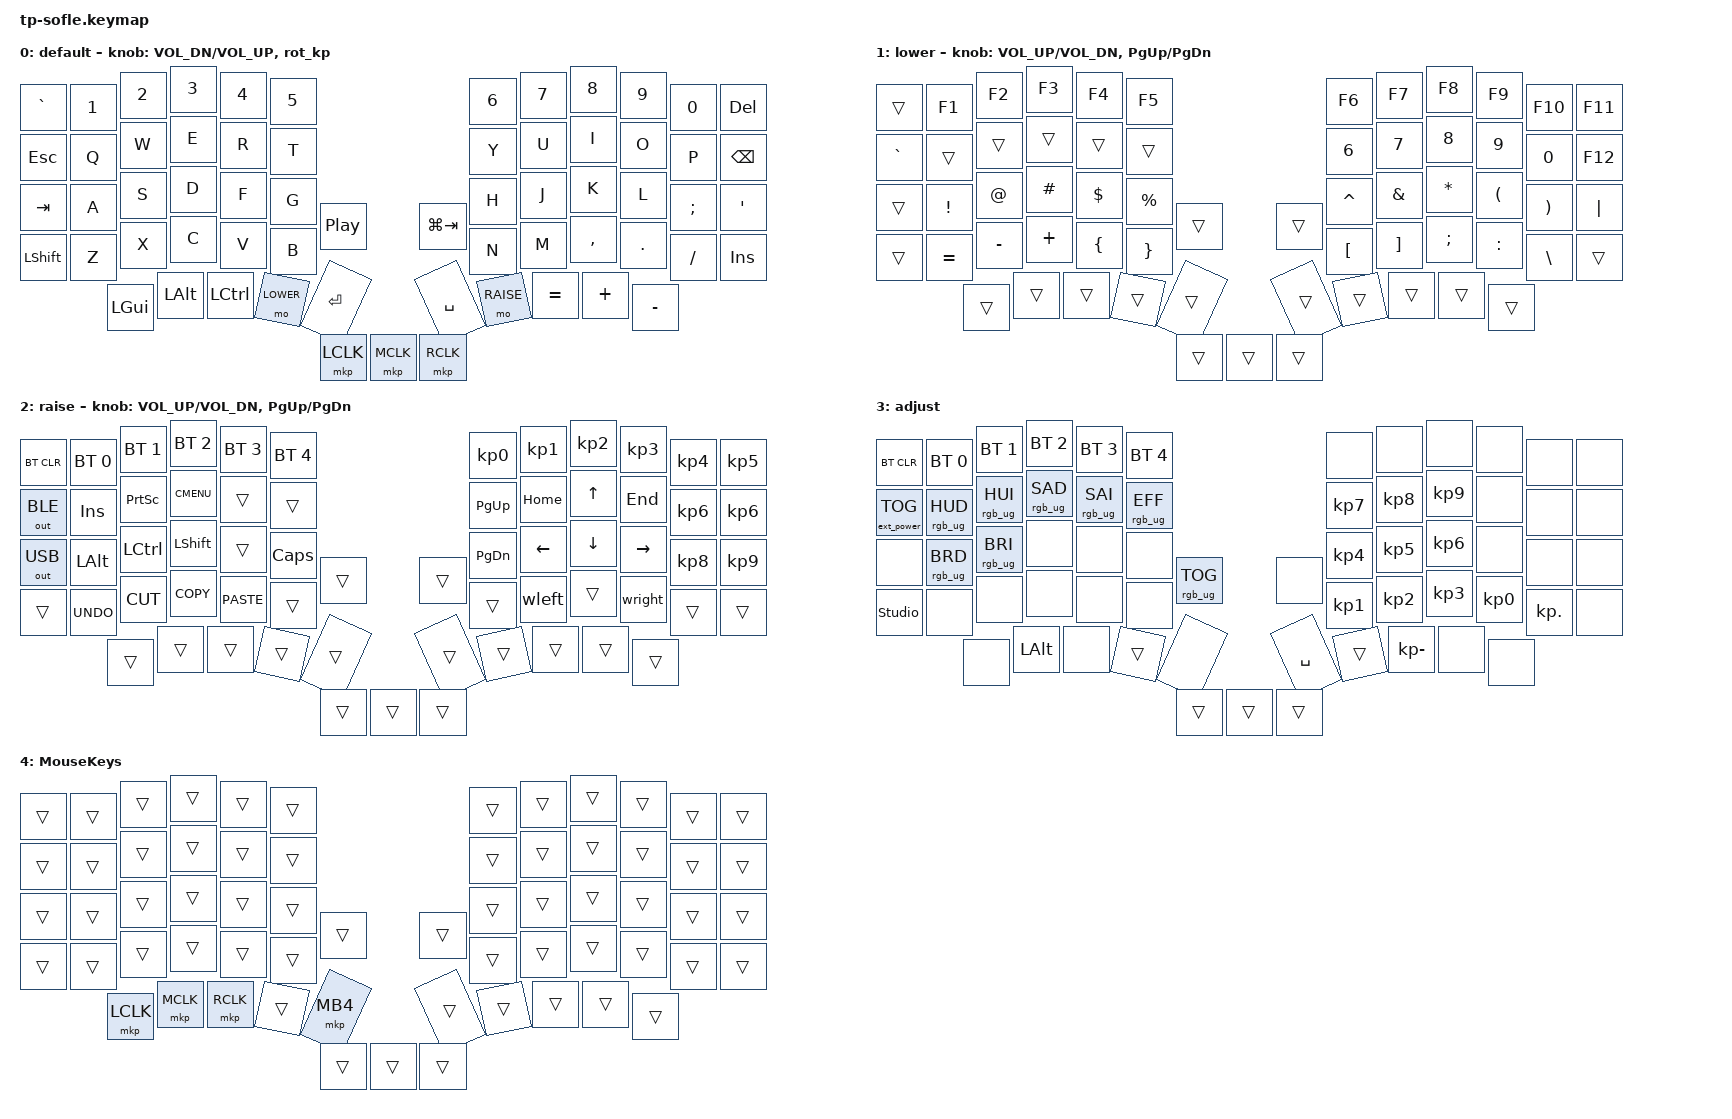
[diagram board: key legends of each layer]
/*
 * Copyright (c) 2020 The ZMK Contributors
 *
 * SPDX-License-Identifier: MIT
 */

#include <behaviors.dtsi>
#include <dt-bindings/zmk/keys.h>
#include <dt-bindings/zmk/bt.h>
#include <dt-bindings/zmk/rgb.h>
#include <dt-bindings/zmk/ext_power.h>
#include <dt-bindings/zmk/outputs.h>

#define BASE 0
#define LOWER 1
#define RAISE 2
#define ADJUST 3


#define MOUSE_KEYS 4

// The LED strip hardware lives in the shield: the halves' strip in
// boards/shields/tp-sofle/boards/nice_nano_v2.overlay, the central's in
// tp-sofle_central.overlay (the central is a XIAO, different pins).

/*
 * Defines to enable/disable features
 *
 * These defines allow us to conditionally enable and disable parts of the keymap config.
 *
 * For example, if we decide to build the firmware without the mouse features, we can
 * disable all the config options that rely on those forks and modules without having
 * to edit the entire keymap file manually every time.
 */

#define HAS_MOUSE_KEYS

#ifdef HAS_MOUSE_KEYS
  #include <dt-bindings/zmk/mouse.h>
  #include <behaviors/mouse_keys.dtsi>
#endif  // HAS_MOUSE_KEYS



/ {
 macros {
        wleft: wleft {
            compatible = "zmk,behavior-macro";
            #binding-cells = <0>;
            bindings
                = <&macro_press &kp LGUI>, <&macro_press &kp LCTRL>
                , <&macro_tap &kp LEFT>
                , <&macro_release &kp LGUI>,<&macro_release &kp LCTRL>
                ;
        };
        wright: wright {
            compatible = "zmk,behavior-macro";
            #binding-cells = <0>;
            bindings
                = <&macro_press &kp LGUI>, <&macro_press &kp LCTRL>
                , <&macro_tap &kp RIGHT>
                , <&macro_release &kp LGUI>,<&macro_release &kp LCTRL>
                ;
        };
    };

    behaviors {
        rot_kp: sensor_rotate_kp {
            compatible = "zmk,behavior-sensor-rotate";
            #sensor-binding-cells = <0>;
            bindings = <&wleft>, <&wright>;
        };
    };

   // Activate ADJUST layer by pressing raise and lower
    conditional_layers {
        compatible = "zmk,conditional-layers";
        adjust_layer {
            if-layers = <LOWER RAISE>;
            then-layer = <ADJUST>;
        };
    };

    keymap {
        compatible = "zmk,keymap";

        default_layer {
            display-name = "default";
// ------------------------------------------------------------------------------------------------------------
// |   `   |  1  |  2  |  3   |  4   |  5   |                   |  6   |  7    |  8    |  9   |   0   |  DEL  |
// |  ESC  |  Q  |  W  |  E   |  R   |  T   |                   |  Y   |  U    |  I    |  O   |   P   | BKSPC |
// |  TAB  |  A|afi  |  S  |  D   |  F   |  G   |                   |  H   |  J    |  K    |  L   |   ;   INS   '   |
// | SHIFT |  Z  |  X  |  C   |  V   |  B   |  PAUSE  |  |       |  N   |  M    |  ,    |  .   |   /   | SHIFT |
//               | GUI | ALT  | CTRL | LOWER|  ENTER |  | SPACE | RAISE| =  | +   | -  |
            bindings = <
&kp GRAVE &kp N1 &kp N2   &kp N3   &kp N4    &kp N5                           &kp N6 &kp N7    &kp N8    &kp N9   &kp N0   &kp DELETE
&kp ESC   &kp Q  &kp W    &kp E    &kp R     &kp T                            &kp Y  &kp U     &kp I     &kp O    &kp P    &kp BSPC
&kp TAB   &kp A  &kp S    &kp D    &kp F     &kp G                            &kp H  &kp J     &kp K     &kp L    &kp SEMI &kp SQT
&kp LSHFT &kp Z  &kp X    &kp C    &kp V     &kp B      &kp C_PLAY_PAUSE  &kp LG(TAB)      &kp N  &kp M     &kp COMMA &kp DOT  &kp FSLH &kp INS
                 &kp LGUI &kp LALT &kp LCTRL &mo LOWER  &kp RET    &kp SPACE  &mo RAISE &kp EQUAL &kp PLUS  &kp MINUS
                                    &mkp LCLK  &mkp MCLK  &mkp RCLK
            >;

            sensor-bindings = <&inc_dec_kp C_VOL_DN C_VOL_UP &rot_kp>;
        };

        lower_layer {
            display-name = "lower";
// TODO: Some binds are waiting for shifted keycode support.
// ------------------------------------------------------------------------------------------------------------
// |       |  F1 |  F2 |  F3  |  F4  |  F5  |                   |  F6  |  F7   |  F8   |  F9  |  F10  |  F11  |
// |   `   |  1  |  2  |  3   |  4   |  5   |                   |  6   |  7    |  8    |  9   |   0   |  F12  |
// |       |  !  |  @  |  #   |  $   |  %   |                   |  ^   |  &    |  *    |  (   |   )   |   |   |
// |       |  =  |  -  |  +   |  {   |  }   |        |  |       |  [   |  ]    |  ;    |  :   |   \   |       |
//               |     |      |      |      |        |  |       |      |       |       |      |
            bindings = <
&trans    &kp F1    &kp F2    &kp F3      &kp F4    &kp F5                    &kp F6    &kp F7   &kp F8    &kp F9    &kp F10   &kp F11
&kp GRAVE &trans    &trans    &trans      &trans    &trans                    &kp N6    &kp N7   &kp N8    &kp N9    &kp N0    &kp F12
&trans    &kp EXCL  &kp AT    &kp HASH    &kp DLLR  &kp PRCNT                 &kp CARET &kp AMPS &kp ASTRK &kp LPAR  &kp RPAR  &kp PIPE
&trans    &kp EQUAL &kp MINUS &kp PLUS &kp LBRC  &kp RBRC   &trans &trans  &kp LBKT  &kp RBKT &kp SEMI  &kp COLON &kp BSLH  &trans
                    &trans    &trans      &trans    &trans     &trans &trans  &trans &trans   &trans    &trans
                                    &trans     &trans     &trans
            >;

            sensor-bindings = <&inc_dec_kp C_VOL_UP C_VOL_DN &inc_dec_kp PG_UP PG_DN>;
        };

        raise_layer {
            display-name = "raise";
// ------------------------------------------------------------------------------------------------------------
// | BTCLR | BT1  | BT2  |  BT3  |  BT4  |  BT5 |                | num0 | num1 | num2  | num3 | num4  | num5  |
// |OUT_BLE| INS  | PSCR | GUI   |       |      |                | PGUP | HOME |   ^   | END  | num6  | num7  |
// |OUT_USB| ALT  | CTRL | SHIFT |       | CAPS |                | PGDN |   <- |   v   |  ->  | num8  | num9  |
// |       | UNDO | CUT  | COPY  | PASTE |      |      |  |      |      |wleft |       |wright|       |       |
//                |      |       |       |      |      |  |      |      |      |       |      |
            bindings = <
&bt BT_CLR      &bt BT_SEL 0 &bt BT_SEL 1 &bt BT_SEL 2 &bt BT_SEL 3 &bt BT_SEL 4                  &kp KP_N0 &kp KP_N1 &kp KP_N2 &kp KP_N3  &kp KP_N4 &kp KP_N5
&out OUT_BLE    &kp INS      &kp PSCRN    &kp K_CMENU  &trans       &trans                        &kp PG_UP &kp HOME  &kp UP    &kp END    &kp KP_N6 &kp KP_N6
&out OUT_USB    &kp LALT     &kp LCTRL    &kp LSHFT    &trans       &kp CLCK                      &kp PG_DN &kp LEFT  &kp DOWN  &kp RIGHT  &kp KP_N8 &kp KP_N9
&trans          &kp K_UNDO   &kp K_CUT    &kp K_COPY   &kp K_PASTE  &trans        &trans  &trans  &trans    &wleft    &trans    &wright    &trans    &trans
                        &trans       &trans       &trans       &trans  &trans  &trans  &trans    &trans    &trans   &trans
                                    &trans     &trans     &trans
            >;
            sensor-bindings = <&inc_dec_kp C_VOL_UP C_VOL_DN &inc_dec_kp PG_UP PG_DN>;
        };

        adjust_layer {
// ----------------------------------------------------------------------------------------------------------------------------
// | BTCLR  |  BT1    |  BT2    |   BT3   |   BT4   |   BT5   |                  |      |       |       |      |       |        |
// | EXTPWR | RGB_HUD | RGB_HUI | RGB_SAD | RGB_SAI | RGB_EFF |                  |  7   |   8   |   9   |      |       |        |
// |        | RGB_BRD | RGB_BRI |         |         |         |                  |  4   |   5   |   6   |      |       |        |
// | studio |         |         |         |         |         | RGB_TOG | |      |  1   |   2  |   3   |  0   |   .   |       |
//                    |         |         |         |         |         | |      | SPACE|      |   -   |      |
            display-name = "adjust";
            bindings = <
&bt BT_CLR        &bt BT_SEL 0    &bt BT_SEL 1    &bt BT_SEL 2    &bt BT_SEL 3    &bt BT_SEL 4                            &none          &none          &none        &none     &none      &none
&ext_power EP_TOG &rgb_ug RGB_HUD &rgb_ug RGB_HUI &rgb_ug RGB_SAD &rgb_ug RGB_SAI &rgb_ug RGB_EFF                         &kp KP_N7      &kp KP_N8      &kp KP_N9    &none     &none      &none
&none             &rgb_ug RGB_BRD &rgb_ug RGB_BRI &none           &none           &none                                   &kp KP_N4      &kp KP_N5      &kp KP_N6    &none     &none      &none
&studio_unlock    &none           &none           &none           &none           &none            &rgb_ug RGB_TOG &none  &kp KP_N1 &kp KP_N2 &kp KP_N3 &kp KP_N0 &kp KP_DOT &none
                                  &none           &kp LALT        &none           &trans           &none           &kp SPACE &trans &kp KP_MINUS &none &none
                                    &trans     &trans     &trans
            >;

            // sensor-bindings = <&inc_dec_kp RGB_BRD RGB_BRI &inc_dec_kp RGB_SAD RGB_SAI>;
        };

#ifdef HAS_MOUSE_KEYS

    MouseKeys_layer {
      display-name = "MouseKeys";
// Auto-activated by trackball movement (see &zip_temp_layer in tp-sofle_central.overlay).
// Mouse buttons live on the LEFT thumb cluster, as on the Charybdis:
//   GUI: LCLK (drag)   ALT: MCLK   CTRL: RCLK   ENTER: MB4   (LOWER kept)
// Non-thumb keys deactivate this layer; all thumbs are excluded (excluded-positions).
            bindings = <
&trans &trans   &trans   &trans    &trans    &trans                             &trans    &trans    &trans   &trans   &trans &trans
&trans &trans   &trans   &trans    &trans    &trans                             &trans    &trans    &trans   &trans   &trans &trans
&trans &trans   &trans   &trans    &trans    &trans                             &trans    &trans    &trans   &trans   &trans &trans
&trans &trans   &trans   &trans    &trans    &trans    &trans         &trans    &trans    &trans    &trans   &trans   &trans &trans
                &mkp LCLK &mkp MCLK &mkp RCLK &trans    &mkp MB4      &trans    &trans    &trans    &trans   &trans
                                    &trans     &trans     &trans
            >;
    };

#endif

    };
};
